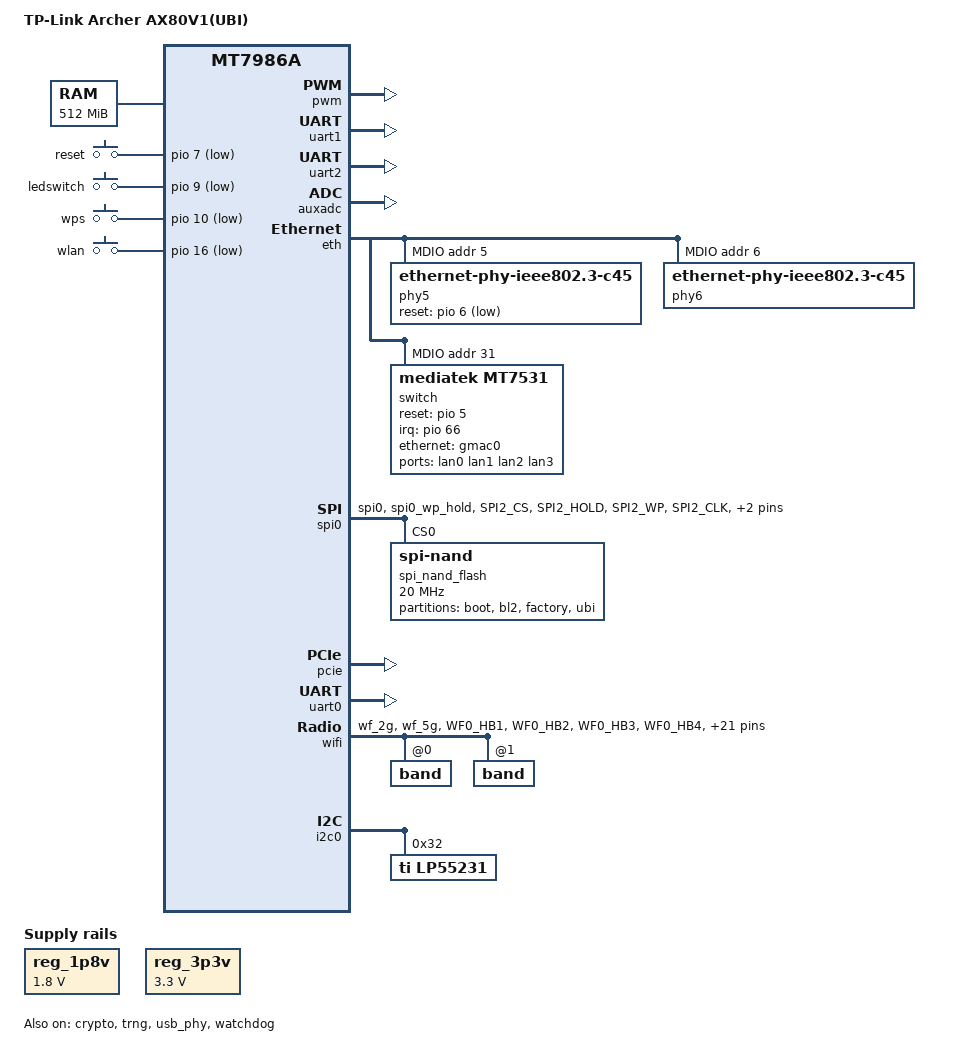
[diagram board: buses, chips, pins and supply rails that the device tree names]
// SPDX-License-Identifier: GPL-2.0-or-later OR MIT

/dts-v1/;
#include <dt-bindings/gpio/gpio.h>
#include <dt-bindings/input/input.h>
#include <dt-bindings/leds/common.h>


#include "mt7986a.dtsi"

/ {
	model = "TP-Link Archer AX80V1(UBI)";
	compatible = "tplink,archer-ax80-v1-ubi", "mediatek,mt7986a";

	aliases {
		serial0 = &uart0;
		led-boot = &led_blue0;
		led-failsafe = &led_red0;
		led-running = &led_blue0;
		led-upgrade = &led_red0;
		label-mac-device = &gmac0;
	};

	chosen {
		bootargs = "root=/dev/fit0 rootwait";
		rootdisk = <&ubi_fit>;
		stdout-path = "serial0:115200n8";
	};

	memory {
		reg = <0 0x40000000 0 0x20000000>;
	};
	keys {
		compatible = "gpio-keys-polled";
		poll-interval = <100>;

		reset {
			label = "reset";
			linux,code = <KEY_RESTART>;
			gpios = <&pio 7 GPIO_ACTIVE_LOW>;
			linux,input-type = <1>;
		};
		ledswitch {
			label = "ledswitch";
			linux,code = <KEY_BRIGHTNESS_ZERO>;
			gpios = <&pio 9 GPIO_ACTIVE_LOW>;
			linux,input-type = <1>;
		};
		wps {
			label = "wps";
			linux,code = <KEY_WPS_BUTTON>;
			gpios = <&pio 10 GPIO_ACTIVE_LOW>;
			linux,input-type = <1>;
		};
		wifi {
			label = "wlan";
			linux,code = <KEY_WLAN>;
			gpios = <&pio 16 GPIO_ACTIVE_LOW>;
			linux,input-type = <1>;
		};
	};

	reg_1p8v: regulator-1p8v {
		compatible = "regulator-fixed";
		regulator-name = "fixed-1.8V";
		regulator-min-microvolt = <1800000>;
		regulator-max-microvolt = <1800000>;
		regulator-boot-on;
		regulator-always-on;
	};

	reg_3p3v: regulator-3p3v {
		compatible = "regulator-fixed";
		regulator-name = "fixed-3.3V";
		regulator-min-microvolt = <3300000>;
		regulator-max-microvolt = <3300000>;
		regulator-boot-on;
		regulator-always-on;
	};
};
&pwm {
	status = "okay";
};
&crypto {
	status = "okay";
};
&uart1 {
	status = "okay";
};

&uart2 {
	status = "okay";
};

&auxadc {
        status = "okay";
};

&eth {
	status = "okay";
	gmac0: mac@0 {
		compatible = "mediatek,eth-mac";
		reg = <0>;
		phy-mode = "2500base-x";
		fixed-link {
			speed = <2500>;
			full-duplex;
			pause;
		};
	};
	gmac1: mac@1 {
		compatible = "mediatek,eth-mac";
		reg = <1>;
		phy-handle = <&phy6>;
		phy-mode = "2500base-x";
	};
	mdio: mdio-bus {
		#address-cells = <1>;
		#size-cells = <0>;
	};
};

&mdio {
	    #address-cells = <1>;
	    #size-cells = <0>;

	phy5: phy@5 {
			compatible = "ethernet-phy-ieee802.3-c45";
			reg = <5>;
			reset-gpios = <&pio 6 1>;
			reset-deassert-us = <20000>;
			phy-mode = "2500base-x";
		};

	phy6: phy@6 {
			compatible = "ethernet-phy-ieee802.3-c45";
			reg = <6>;
			
		};

    switch: switch@31 {
		compatible = "mediatek,mt7531";
		reg = <31>;
		reset-gpios = <&pio 5 GPIO_ACTIVE_HIGH>;
		interrupt-controller;
		#interrupt-cells = <1>;
		interrupt-parent = <&pio>;
		interrupts = <66 IRQ_TYPE_LEVEL_HIGH>;
	};
};
&gmac0 {
	nvmem-cells = <&macaddr_factory_8000 0>;
	nvmem-cell-names = "mac-address";
};
&gmac1 {
	nvmem-cells = <&macaddr_factory_8000 1>;
	nvmem-cell-names = "mac-address";
};
&spi0 {
	pinctrl-names = "default";
	pinctrl-0 = <&spi_flash_pins>;
	status = "okay";
	spi_nand_flash: flash@0 {
		compatible = "spi-nand";
		#address-cells = <1>;
		#size-cells = <1>;
		reg = <0>;
		spi-max-frequency = <20000000>;
		spi-tx-bus-width = <4>;
		spi-rx-bus-width = <4>;
		partitions: partitions {
			compatible = "fixed-partitions";
			#address-cells = <1>;
			#size-cells = <1>;
		};
	};
};
&partitions {
	partition@0 {
		label = "boot";
		reg = <0x0 0x200000>;
		read-only;
		compatible = "fixed-partitions";
		#address-cells = <1>;
		#size-cells = <1>;
		partition@0 {
			label = "bl2";
			reg = <0x0 0x100000>;
			read-only;
		};
		partition@100000 {
			label = "factory";
			reg = <0x100000 0x100000>;
			read-only;
			nvmem-layout {
				compatible = "fixed-layout";
				#address-cells = <1>;
				#size-cells = <1>;
				eeprom_factory_0: eeprom@0 {
					reg = <0x0 0x1000>;
				};
				macaddr_factory_8000: macaddr@8000 {
					compatible = "mac-base";
					reg = <0x8000 0x6>;
					#nvmem-cell-cells = <1>;
				};
			};
		};
	};
	partition@200000 {
		compatible = "linux,ubi";
		reg = <0x200000 0x7e00000>;
		label = "ubi";
		volumes {
			ubi_fit: ubi-volume-fit {
				volname = "fit";
			};
			ubi_ubootenv: ubi-volume-ubootenv {
				volname = "ubootenv";
			};
			ubi_ubootenv2: ubi-volume-ubootenv2 {
				volname = "ubootenv2";
			};
		};
	};
};
&switch {
	ports {
		#address-cells = <1>;
		#size-cells = <0>;

		port@0 {
			reg = <0>;
			label = "lan0";
		};

		port@1 {
			reg = <1>;
			label = "lan1";
		};

		port@2 {
			reg = <2>;
			label = "lan2";
		};

		port@3 {
			reg = <3>;
			label = "lan3";
		};

		port@6 {
			reg = <6>;
			ethernet = <&gmac0>;
			phy-mode = "2500base-x";

			fixed-link {
				speed = <2500>;
				full-duplex;
				pause;
			};
		};
	};
};
&pcie {
	status = "okay";
};

&pio {
	spi_flash_pins: spi-flash-pins-33-to-38 {
		mux {
			function = "spi";
			groups = "spi0", "spi0_wp_hold";
		};
		conf-pu {
			pins = "SPI2_CS", "SPI2_HOLD", "SPI2_WP";
			drive-strength = <8>;
			mediatek,pull-up-adv = <0>; /* bias-disable */
		};
		conf-pd {
			pins = "SPI2_CLK", "SPI2_MOSI", "SPI2_MISO";
			drive-strength = <8>;
			mediatek,pull-down-adv = <0>; /* bias-disable */
		};
	};
    	wf_2g_5g_pins: wf_2g_5g-pins {
		mux {
			function = "wifi";
			groups = "wf_2g", "wf_5g";
		};
		conf {
			pins = "WF0_HB1", "WF0_HB2", "WF0_HB3", "WF0_HB4",
			       "WF0_HB0", "WF0_HB0_B", "WF0_HB5", "WF0_HB6",
			       "WF0_HB7", "WF0_HB8", "WF0_HB9", "WF0_HB10",
			       "WF0_TOP_CLK", "WF0_TOP_DATA", "WF1_HB1",
			       "WF1_HB2", "WF1_HB3", "WF1_HB4", "WF1_HB0",
			       "WF1_HB5", "WF1_HB6", "WF1_HB7", "WF1_HB8",
			       "WF1_TOP_CLK", "WF1_TOP_DATA";
			drive-strength = <4>;
		};

	};
	wf_dbdc_pins: wf-dbdc-pins {
		mux {
			function = "wifi";
			groups = "wf_dbdc";
		};
		conf {
			pins = "WF0_HB1", "WF0_HB2", "WF0_HB3", "WF0_HB4",
				"WF0_HB0", "WF0_HB0_B", "WF0_HB5", "WF0_HB6",
				"WF0_HB7", "WF0_HB8", "WF0_HB9", "WF0_HB10",
				"WF0_TOP_CLK", "WF0_TOP_DATA", "WF1_HB1",
				"WF1_HB2", "WF1_HB3", "WF1_HB4", "WF1_HB0",
				"WF1_HB5", "WF1_HB6", "WF1_HB7", "WF1_HB8",
				"WF1_TOP_CLK", "WF1_TOP_DATA";
			drive-strength = <4>;
		};
	};
};

&trng {
	status = "okay";
};

&uart0 {
	status = "okay";
};
&ubi_ubootenv {
	nvmem-layout {
		compatible = "u-boot,env-redundant-bool";
	};
};
&ubi_ubootenv2 {
	nvmem-layout {
		compatible = "u-boot,env-redundant-bool";
	};
};

&usb_phy {
	status = "okay";
};

&watchdog {
	status = "okay";
};

&wifi {
	status = "okay";
	nvmem-cells = <&eeprom_factory_0>;
	nvmem-cell-names = "eeprom";
   	pinctrl-names = "default", "dbdc";
	pinctrl-0 = <&wf_2g_5g_pins>;
	pinctrl-1 = <&wf_dbdc_pins>;
	
	
	band@0 {
		reg = <0>;
		nvmem-cells = <&macaddr_factory_8000 0>;
		nvmem-cell-names = "mac-address";
	};
	band@1 {
		reg = <1>;
		nvmem-cells = <&macaddr_factory_8000 (-1)>;
		nvmem-cell-names = "mac-address";
	};
};
&i2c0 {
	status = "okay";

	lp55231: led-controller@32 {
      compatible = "ti,lp55231";
      reg = <0x32>;
      status = "okay";
      clock-mode = /bits/ 8 <1>;

     
      		led_blue0: led@0 {
			chan-name = "blue-0";
			led-cur = /bits/ 8 <0x14>;
			max-cur = /bits/ 8 <0x20>;
			reg = <0>;
			color = <LED_COLOR_ID_BLUE>;
			function-enumerator = <0>;
		};

		led@1 {
			chan-name = "blue-1";
			led-cur = /bits/ 8 <0x14>;
			max-cur = /bits/ 8 <0x20>;
			reg = <1>;
			color = <LED_COLOR_ID_BLUE>;
			function-enumerator = <1>;
		};

		led@2 {
			chan-name = "blue-2";
			led-cur = /bits/ 8 <0x14>;
			max-cur = /bits/ 8 <0x20>;
			reg = <2>;
			color = <LED_COLOR_ID_BLUE>;
			function-enumerator = <2>;
		};

		led_green0: led@3 {
			chan-name = "green-0";
			led-cur = /bits/ 8 <0x14>;
			max-cur = /bits/ 8 <0x20>;
			reg = <3>;
			color = <LED_COLOR_ID_GREEN>;
			function-enumerator = <0>;
		};

		led@4 {
			chan-name = "green-1";
			led-cur = /bits/ 8 <0x14>;
			max-cur = /bits/ 8 <0x20>;
			reg = <4>;
			color = <LED_COLOR_ID_GREEN>;
			function-enumerator = <1>;
		};

		led@5 {
			chan-name = "green-2";
			led-cur = /bits/ 8 <0x14>;
			max-cur = /bits/ 8 <0x20>;
			reg = <5>;
			color = <LED_COLOR_ID_GREEN>;
			function-enumerator = <2>;
		};

		led_red0: led@6 {
			chan-name = "red-0";
			led-cur = /bits/ 8 <0x14>;
			max-cur = /bits/ 8 <0x20>;
			reg = <6>;
			color = <LED_COLOR_ID_RED>;
			function-enumerator = <0>;
		};

		led@7 {
			chan-name = "red-1";
			led-cur = /bits/ 8 <0x14>;
			max-cur = /bits/ 8 <0x20>;
			reg = <7>;
			color = <LED_COLOR_ID_RED>;
			function-enumerator = <1>;
		};

		led@8 {
			chan-name = "red-2";
			led-cur = /bits/ 8 <0x14>;
			max-cur = /bits/ 8 <0x20>;
			reg = <8>;
			color = <LED_COLOR_ID_RED>;
			function-enumerator = <2>;
		};
	};
};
